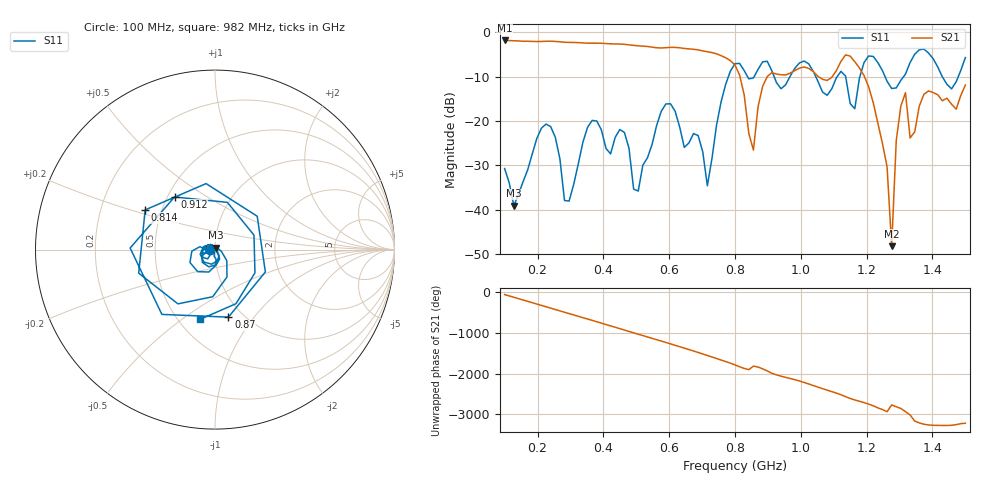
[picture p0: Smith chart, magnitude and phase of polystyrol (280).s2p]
! NanoVNA-App
! Date: 2025-09-25 15:32:04
! Start: 100MHz Stop: 1,5GHz Points: 101
! S-Parameter data: F S11 S21 S12 S22
# Hz S RI R 50
!  Frequency  S11_Real  S11_Imag  S21_Real  S21_Imag  S12_Real  S12_Imag  S22_Real  S22_Imag
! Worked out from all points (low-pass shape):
!   101 points, 100 MHz to 1.5 GHz, reference 50 ohm
!   highest |S21| = -1.80 dB at 100 MHz (marker M1); lowest = -48.2 dB at 1.276 GHz (marker M2)
!   |S21| within 3 dB of the highest: start of sweep to 743.1 MHz
!   lowest |S11| = -39.1 dB at 128 MHz (marker M3), VSWR 1.02, Z = 50.3 + j1.06 ohm
!   |S11| at or under -10 dB: start of sweep to 779.8 MHz; 1.046 GHz to 1.11 GHz (64.55 MHz wide, 5.99 % of centre); 1.256 GHz to 1.312 GHz (55.75 MHz wide, 4.34 % of centre) (the widest 3 of 7)
!   S12 and S22 are empty: the file has one direction only
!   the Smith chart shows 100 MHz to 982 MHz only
!   S11 on the Smith chart (normalised r, x): 100 MHz: 0.94, -0.01; 814 MHz: 0.40, +0.22; 870 MHz: 0.85, -0.75; 912 MHz: 0.54, +0.37; 982 MHz: 0.64, -0.59
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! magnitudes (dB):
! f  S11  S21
! 100 MHz  -30.7  -1.8
! 128 MHz  -39.1  -1.9
! 212 MHz  -21.6  -2.0
! 282 MHz  -37.9  -2.2
! 338 MHz  -24.7  -2.4
! 464 MHz  -22.5  -2.7
! 506 MHz  -35.8  -3.0
! 576 MHz  -17.8  -3.5
! 716 MHz  -34.6  -4.3
! 800 MHz  -7.0  -7.4
! 814 MHz  -7.0  -9.6
! 856 MHz  -10.3  -26.5
! 870 MHz  -8.3  -16.8
! 912 MHz  -8.6  -9.1
! 982 MHz  -8.0  -8.6
! 1.038 GHz  -8.8  -8.8
! 1.192 GHz  -6.8  -9.7
! 1.262 GHz  -11.0  -30.2
! 1.276 GHz  -12.6  -48.2
! 1.29 GHz  -12.5  -24.3
! 1.318 GHz  -9.4  -13.6
! 1.5 GHz  -5.7  -11.9
